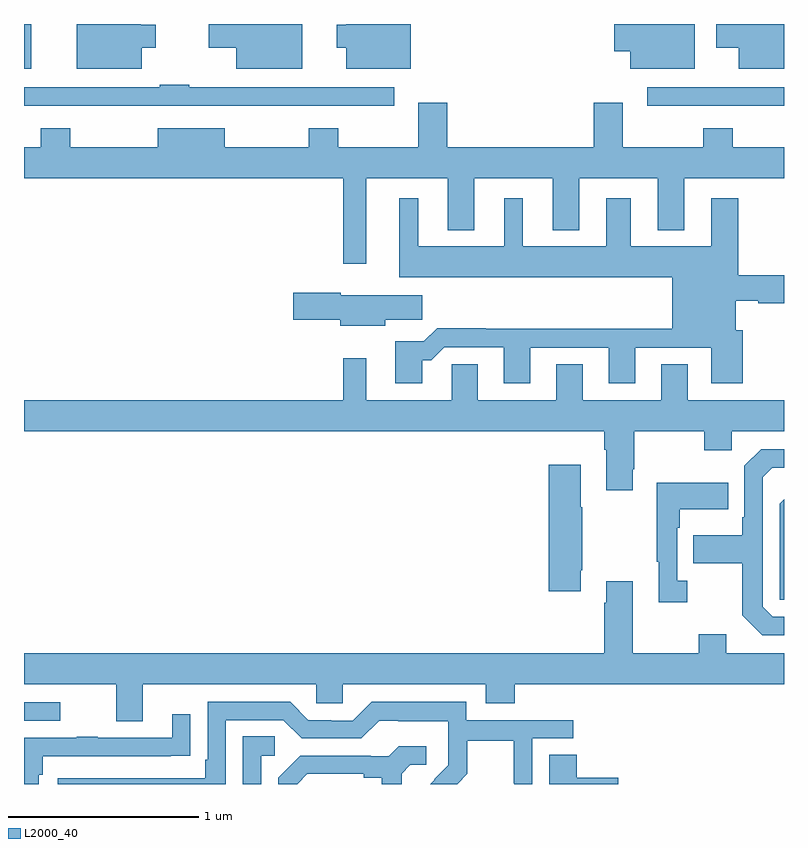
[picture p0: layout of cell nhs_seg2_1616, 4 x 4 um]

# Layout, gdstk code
import gdstk
lib = gdstk.Library(unit=1e-6, precision=1e-09)
def R(c, l, rs):  # rectangles x0, y0, x1, y1
    for r in rs: c.add(gdstk.rectangle(r[:2], r[2:], *l))
def P(c, l, *ps):  # polygons
    for p in ps: c.add(gdstk.Polygon(p, *l))
L2000_40 = (2000, 40)

nhs_seg2_1616 = lib.new_cell('nhs_seg2_1616')
R(nhs_seg2_1616, L2000_40, [(195,626.133,195.19,626.229), (195,629.564,195.037,629.8)])
P(nhs_seg2_1616, L2000_40, [(197.035,629.8),(196.697,629.8),(196.697,629.797),(196.646,629.797),(196.646,629.675),(196.697,629.675),(196.697,629.564),(197.035,629.564)],
  [(199,629.8),(198.644,629.8),(198.644,629.675),(198.761,629.675),(198.761,629.564),(199,629.564)],
  [(195.619,629.675),(195.694,629.675),(195.694,629.797),(195.615,629.797),(195.615,629.8),(195.278,629.8),(195.278,629.564),(195.619,629.564)],
  [(196.465,629.8),(195.972,629.8),(195.972,629.675),(196.118,629.675),(196.118,629.564),(196.465,629.564)],
  [(198.529,629.8),(198.107,629.8),(198.107,629.657),(198.191,629.657),(198.191,629.564),(198.529,629.564)],
  [(195.608,629.37),(196.153,629.37),(196.153,629.369),(196.409,629.369),(196.409,629.37),(196.948,629.37),(196.948,629.466),(196.022,629.466),(196.022,629.468),(195.869,629.468),(195.869,629.479),(195.715,629.479),(195.715,629.466),(195,629.466),(195,629.37),(195.331,629.37),(195.331,629.369),(195.608,629.369)],
  [(199,629.466),(198.279,629.466),(198.279,629.37),(198.817,629.37),(198.817,629.369),(199,629.369)],
  [(196.801,628.988),(197.231,628.988),(197.231,628.715),(197.371,628.715),(197.371,628.988),(197.783,628.988),(197.783,628.715),(197.923,628.715),(197.923,628.988),(198.335,628.988),(198.335,628.715),(198.475,628.715),(198.475,628.988),(199,628.988),(199,629.152),(198.729,629.152),(198.729,629.251),(198.574,629.251),(198.574,629.152),(198.151,629.152),(198.151,629.386),(197.999,629.386),(197.999,629.152),(197.228,629.152),(197.228,629.386),(197.075,629.386),(197.075,629.152),(196.653,629.152),(196.653,629.251),(196.498,629.251),(196.498,629.152),(196.057,629.152),(196.057,629.251),(195.704,629.251),(195.704,629.152),(195.243,629.152),(195.243,629.251),(195.088,629.251),(195.088,629.152),(195,629.152),(195,628.988),(196.68,628.988),(196.68,628.539),(196.801,628.539)],
  [(197.095,628.031),(197.144,628.031),(197.211,628.098),(197.525,628.098),(197.525,627.909),(197.665,627.909),(197.665,628.095),(198.077,628.095),(198.077,627.909),(198.217,627.909),(198.217,628.095),(198.617,628.095),(198.617,627.909),(198.782,627.909),(198.782,628.188),(198.745,628.188),(198.745,628.343),(198.865,628.343),(198.865,628.331),(199,628.331),(199,628.478),(198.758,628.478),(198.758,628.882),(198.617,628.882),(198.617,628.63),(198.193,628.63),(198.193,628.882),(198.065,628.882),(198.065,628.63),(197.626,628.63),(197.626,628.882),(197.528,628.882),(197.528,628.63),(197.074,628.63),(197.074,628.882),(196.976,628.882),(196.976,628.466),(198.413,628.466),(198.413,628.196),(197.429,628.196),(197.429,628.199),(197.174,628.199),(197.104,628.129),(196.955,628.129),(196.955,627.909),(197.095,627.909)],
  [(196.9,628.243),(197.095,628.243),(197.095,628.372),(196.668,628.372),(196.668,628.385),(196.416,628.385),(196.416,628.243),(196.664,628.243),(196.664,628.211),(196.9,628.211)],
  [(198.58,627.557),(198.726,627.557),(198.726,627.656),(199,627.656),(199,627.82),(198.493,627.82),(198.493,628.01),(198.353,628.01),(198.353,627.82),(197.941,627.82),(197.941,628.01),(197.801,628.01),(197.801,627.82),(197.389,627.82),(197.389,628.01),(197.25,628.01),(197.25,627.82),(196.801,627.82),(196.801,628.042),(196.68,628.042),(196.68,627.82),(195,627.82),(195,627.656),(198.053,627.656),(198.053,627.56),(198.065,627.56),(198.065,627.345),(198.205,627.345),(198.205,627.457),(198.213,627.457),(198.213,627.656),(198.58,627.656)],
  [(199,626.679),(198.942,626.679),(198.888,626.733),(198.888,627.414),(198.939,627.465),(199,627.465),(199,627.561),(198.879,627.561),(198.792,627.474),(198.792,627.205),(198.78,627.205),(198.78,627.109),(198.523,627.109),(198.523,626.962),(198.78,626.962),(198.78,626.689),(198.885,626.583),(199,626.583)],
  [(197.929,626.926),(197.937,626.926),(197.937,627.257),(197.929,627.257),(197.929,627.481),(197.762,627.481),(197.762,626.814),(197.929,626.814)],
  [(198.49,626.87),(198.438,626.87),(198.438,627.149),(198.451,627.149),(198.451,627.245),(198.707,627.245),(198.707,627.385),(198.33,627.385),(198.33,626.969),(198.341,626.969),(198.341,626.757),(198.49,626.757)],
  [(199,627.298),(198.978,627.276),(198.978,626.769),(199,626.769)],
  [(195.625,626.324),(196.539,626.324),(196.539,626.226),(196.677,626.226),(196.677,626.324),(197.429,626.324),(197.429,626.225),(197.582,626.225),(197.582,626.324),(199,626.324),(199,626.488),(198.697,626.488),(198.697,626.587),(198.55,626.587),(198.55,626.488),(198.205,626.488),(198.205,626.866),(198.065,626.866),(198.065,626.753),(198.053,626.753),(198.053,626.488),(195,626.488),(195,626.324),(195.485,626.324),(195.485,626.13),(195.625,626.13)],
  [(196.062,626.136),(196.365,626.136),(196.461,626.04),(196.776,626.04),(196.869,626.133),(196.969,626.133),(196.969,626.129),(197.232,626.129),(197.232,625.995),(197.234,625.995),(197.234,625.898),(197.16,625.824),(197.161,625.823),(197.138,625.8),(197.28,625.8),(197.333,625.853),(197.333,626.028),(197.578,626.028),(197.578,625.804),(197.58,625.804),(197.58,625.8),(197.676,625.8),(197.676,626.04),(197.89,626.04),(197.89,626.136),(197.328,626.136),(197.328,626.233),(196.831,626.233),(196.731,626.133),(196.616,626.133),(196.616,626.136),(196.497,626.136),(196.401,626.232),(195.966,626.232),(195.966,625.927),(195.953,625.927),(195.953,625.83),(195.177,625.83),(195.177,625.8),(196.062,625.8)],
  [(195.078,625.85),(195.098,625.85),(195.098,625.947),(195.773,625.947),(195.773,625.948),(195.875,625.948),(195.875,626.167),(195.779,626.167),(195.779,626.043),(195.389,626.043),(195.389,626.048),(195.277,626.048),(195.277,626.043),(195,626.043),(195,625.8),(195.078,625.8)],
  [(196.248,625.95),(196.321,625.95),(196.321,626.051),(196.152,626.051),(196.152,625.8),(196.248,625.8)],
  [(196.492,625.854),(196.787,625.854),(196.787,625.832),(196.883,625.832),(196.883,625.8),(196.987,625.8),(196.987,625.855),(197.034,625.902),(197.116,625.902),(197.116,625.999),(196.972,625.999),(196.92,625.947),(196.826,625.947),(196.826,625.95),(196.454,625.95),(196.338,625.834),(196.338,625.8),(196.438,625.8)],
  [(198.127,625.832),(197.909,625.832),(197.909,625.955),(197.765,625.955),(197.765,625.8),(198.127,625.8)])

lib.write_gds('nhs_seg2_1616.gds')
